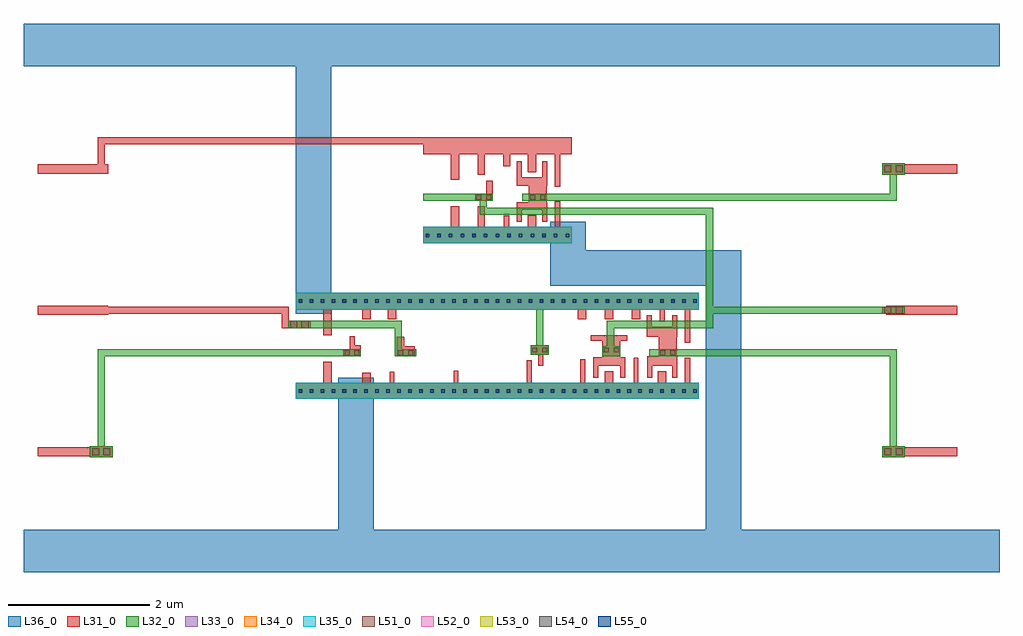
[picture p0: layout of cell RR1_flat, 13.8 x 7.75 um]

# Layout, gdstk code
import gdstk
lib = gdstk.Library(unit=1e-6, precision=1e-09)
def R(c, l, rs):  # rectangles x0, y0, x1, y1
    for r in rs: c.add(gdstk.rectangle(r[:2], r[2:], *l))
def A(c, l, x, y, w, h, nx, ny, dx, dy):  # array of equal rectangles
    R(c, l, [(x+i*dx, y+j*dy, x+i*dx+w, y+j*dy+h) for i in range(nx) for j in range(ny)])
L31_0 = (31, 0)
L32_0 = (32, 0)
L33_0 = (33, 0)
L34_0 = (34, 0)
L35_0 = (35, 0)
L36_0 = (36, 0)
L51_0 = (51, 0)
L52_0 = (52, 0)
L53_0 = (53, 0)
L54_0 = (54, 0)
L55_0 = (55, 0)

rr1_flat = lib.new_cell('RR1_flat')
A(rr1_flat, L31_0, -0.5, -0.065, 1, 0.13, 1, 3, 0, 2)
A(rr1_flat, L31_0, 11.5, -0.065, 1, 0.13, 1, 3, 0, 2)
A(rr1_flat, L31_0, 7.14, 1.875, 0.12, 0.375, 3, 1, 0.38, 0)
R(rr1_flat, L31_0, [(0.24,-0.08,0.56,0.08), (11.44,-0.08,11.76,0.08), (3.15,0.75,3.88,0.98), (3.88,0.75,8.85,0.98), (3.54,0.98,3.66,1.275), (4.09,0.98,4.21,1.115), (4.475,0.98,4.545,1.135), (5.38,0.98,5.45,1.145), (6.415,0.98,6.485,1.295), (7.175,0.98,7.245,1.31), (7.52,0.98,7.64,1.14), (7.925,0.98,7.995,1.33), (8.27,0.98,8.39,1.14), (8.65,0.98,8.73,1.33), (7.355,1.05,7.425,1.34), (7.735,1.05,7.805,1.22), (8.12,1.05,8.19,1.35), (8.475,1.05,8.535,1.93), (8.535,1.05,8.545,1.35), (6.575,1.22,6.65,1.505), (7.425,1.22,7.805,1.34), (8.19,1.22,8.285,1.35), (8.285,1.22,8.475,1.77), (7.485,1.34,7.735,1.65), (3.82,1.35,4.07,1.45), (3.915,1.35,4.07,1.505), (4.58,1.355,4.83,1.49), (6.475,1.375,6.575,1.505), (6.65,1.375,6.725,1.505), (4.58,1.49,4.685,1.63), (3.915,1.505,3.985,1.635), (8.65,1.545,8.73,2.01), (7.32,1.57,7.485,1.65), (7.735,1.57,7.84,1.65), (8.115,1.63,8.185,1.93), (8.185,1.63,8.285,1.77), (8.535,1.63,8.545,1.93), (3.54,1.645,3.66,2.25), (2.95,1.75,3.05,2.05), (2.95,1.75,3.25,1.85), (3.04,1.75,3.36,1.85), (8.295,1.84,8.365,2.25), (4.09,1.875,4.21,2.25), (4.45,1.875,4.57,2.25), (0.35,1.95,3.05,2.05), (11.44,1.95,11.76,2.05), (3.15,2.01,3.54,2.25), (3.66,2.01,3.88,2.25), (3.88,2.01,4.09,2.25), (4.21,2.01,4.45,2.25), (4.57,2.01,7.14,2.25), (7.26,2.01,7.52,2.25), (7.64,2.01,7.9,2.25), (8.02,2.01,8.295,2.25), (8.365,2.01,8.85,2.25), (4.95,2.95,5.68,3.18), (5.68,2.95,7.05,3.18), (5.34,3.18,5.46,3.475), (5.72,3.18,5.82,3.475), (6.09,3.18,6.17,3.34), (6.43,3.18,6.55,3.345), (6.81,3.18,6.89,3.54), (6.275,3.25,6.345,3.53), (6.635,3.25,6.705,3.42), (6.345,3.42,6.705,3.53), (6.445,3.53,6.695,3.765), (5.685,3.55,5.935,3.65), (5.845,3.56,5.935,3.83), (5.845,3.62,5.935,3.75), (6.81,3.745,6.89,4.21), (6.275,3.765,6.345,4.11), (6.345,3.765,6.705,3.885), (5.34,3.845,5.46,4.45), (6.635,3.885,6.705,4.11), (5.72,3.915,5.82,4.21), (11.44,3.92,11.76,4.08), (0.35,3.95,0.45,4.45), (6.43,3.955,6.55,4.45), (6.08,4.04,6.18,4.45), (4.95,4.21,5.34,4.45), (5.46,4.21,5.68,4.45), (5.68,4.21,6.08,4.45), (6.18,4.21,6.43,4.45), (6.55,4.21,7.05,4.45), (0.35,4.35,5.05,4.45)])
R(rr1_flat, L32_0, [(0.24,-0.08,0.56,0.08), (11.44,-0.08,11.76,0.08), (0.35,-0.05,0.45,1.45), (11.55,-0.05,11.65,1.45), (3.15,0.75,8.85,0.98), (0.35,1.35,3.25,1.45), (3.15,1.35,4.07,1.45), (4.55,1.35,4.65,1.855), (4.55,1.35,4.85,1.45), (7.485,1.35,7.735,1.495), (7.55,1.35,7.65,1.85), (8.15,1.35,8.85,1.45), (8.75,1.35,11.65,1.45), (6.475,1.375,6.725,1.505), (6.55,1.375,6.65,2.25), (3.04,1.75,3.36,1.85), (3.15,1.75,4.65,1.85), (7.55,1.75,9.05,1.85), (8.95,1.75,9.05,3.45), (8.95,1.95,11.65,2.05), (11.44,1.95,11.76,2.05), (3.15,2.01,8.85,2.25), (4.95,2.95,7.05,3.18), (5.75,3.35,9.05,3.45), (5.75,3.35,5.85,3.65), (4.95,3.55,5.935,3.65), (6.35,3.55,7.05,3.65), (6.95,3.55,11.65,3.65), (11.55,3.55,11.65,4.05), (11.44,3.92,11.76,4.08)])
R(rr1_flat, L33_0, [(3.15,0.75,8.85,0.98), (3.15,2.01,8.85,2.25), (4.95,2.95,7.05,3.18)])
R(rr1_flat, L34_0, [(3.15,0.75,8.85,0.98), (3.15,2.01,8.85,2.25), (4.95,2.95,7.05,3.18)])
R(rr1_flat, L35_0, [(3.15,0.75,8.85,0.98), (3.15,2.01,8.85,2.25), (4.95,2.95,7.05,3.18)])
R(rr1_flat, L36_0, [(-0.7,-1.7,13.1,-1.1), (3.75,-1.45,4.25,1.05), (8.95,-1.45,9.45,2.85), (3.15,0.75,8.85,0.98), (3.15,1.95,3.65,5.85), (3.15,2.01,8.85,2.25), (6.75,2.35,7.25,3.25), (6.75,2.35,9.45,2.85), (4.95,2.95,7.05,3.18), (-0.7,5.45,13.1,6.05)])
A(rr1_flat, L51_0, 11.47, -0.05, 0.1, 0.1, 1, 3, 0, 2)
A(rr1_flat, L51_0, 11.63, -0.05, 0.1, 0.1, 1, 3, 0, 2)
A(rr1_flat, L51_0, 3.19, 0.835, 0.05, 0.05, 37, 2, 0.155, 1.27)
A(rr1_flat, L51_0, 4.985, 3.035, 0.05, 0.05, 13, 1, 0.165, 0)
R(rr1_flat, L51_0, [(0.27,-0.05,0.37,0.05), (0.43,-0.05,0.53,0.05), (3.84,1.365,3.91,1.435), (3.98,1.365,4.05,1.435), (4.6,1.365,4.67,1.435), (4.74,1.365,4.81,1.435), (8.305,1.365,8.375,1.435), (8.445,1.365,8.515,1.435), (6.495,1.405,6.565,1.475), (6.635,1.405,6.705,1.475), (7.505,1.405,7.575,1.475), (7.645,1.405,7.715,1.475), (3.07,1.75,3.17,1.85), (3.23,1.75,3.33,1.85), (5.705,3.565,5.775,3.635), (5.845,3.565,5.915,3.635), (6.465,3.565,6.535,3.635), (6.605,3.565,6.675,3.635)])
A(rr1_flat, L52_0, 3.19, 0.835, 0.05, 0.05, 37, 2, 0.155, 1.27)
A(rr1_flat, L52_0, 4.985, 3.035, 0.05, 0.05, 13, 1, 0.165, 0)
A(rr1_flat, L53_0, 3.19, 0.835, 0.05, 0.05, 37, 2, 0.155, 1.27)
A(rr1_flat, L53_0, 4.985, 3.035, 0.05, 0.05, 13, 1, 0.165, 0)
A(rr1_flat, L54_0, 3.19, 0.835, 0.05, 0.05, 37, 2, 0.155, 1.27)
A(rr1_flat, L54_0, 4.985, 3.035, 0.05, 0.05, 13, 1, 0.165, 0)
A(rr1_flat, L55_0, 3.19, 0.835, 0.05, 0.05, 37, 2, 0.155, 1.27)
A(rr1_flat, L55_0, 4.985, 3.035, 0.05, 0.05, 13, 1, 0.165, 0)

lib.write_gds('RR1_flat.gds')
